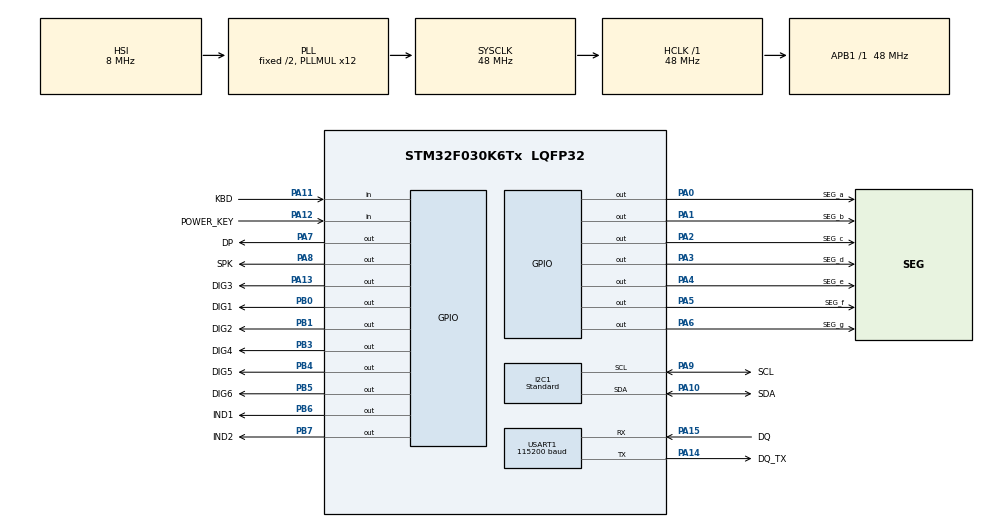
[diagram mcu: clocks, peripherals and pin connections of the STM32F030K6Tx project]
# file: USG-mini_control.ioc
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Dma.Request0=USART1_RX
Dma.Request1=USART1_TX
Dma.USART1_RX.0.Direction=DMA_PERIPH_TO_MEMORY
Dma.USART1_RX.0.Instance=DMA1_Channel3
Dma.USART1_RX.0.MemDataAlignment=DMA_MDATAALIGN_BYTE
Dma.USART1_RX.0.MemInc=DMA_MINC_ENABLE
Dma.USART1_RX.0.Mode=DMA_NORMAL
Dma.USART1_RX.0.PeriphDataAlignment=DMA_PDATAALIGN_BYTE
Dma.USART1_RX.0.PeriphInc=DMA_PINC_DISABLE
Dma.USART1_RX.0.Priority=DMA_PRIORITY_LOW
Dma.USART1_TX.1.Direction=DMA_MEMORY_TO_PERIPH
Dma.USART1_TX.1.Instance=DMA1_Channel2
Dma.USART1_TX.1.MemDataAlignment=DMA_MDATAALIGN_BYTE
Dma.USART1_TX.1.MemInc=DMA_MINC_ENABLE
Dma.USART1_TX.1.Mode=DMA_NORMAL
Dma.USART1_TX.1.PeriphDataAlignment=DMA_PDATAALIGN_BYTE
Dma.USART1_TX.1.PeriphInc=DMA_PINC_DISABLE
Dma.USART1_TX.1.Priority=DMA_PRIORITY_LOW
I2C1.I2C_Speed_Mode=I2C_Standard
I2C1.Speed=100
I2C1.Timing=0x2000090E
Mcu.Family=STM32F0
Mcu.Name=STM32F030K6Tx
Mcu.Package=LQFP32
NVIC.DMA1_Channel2_3_IRQn=true\:0\:0\:false\:false\:true
NVIC.I2C1_IRQn=true\:0\:0\:false\:false\:true
PA0.GPIO_Label=SEG_a
PA0.Signal=GPIO_Output
PA1.GPIO_Label=SEG_b
PA1.Signal=GPIO_Output
PA10.GPIO_Label=SDA
PA10.Mode=I2C
PA10.Signal=I2C1_SDA
PA11.GPIO_Label=KBD
PA11.GPIO_PuPd=GPIO_PULLUP
PA11.Signal=GPIO_Input
PA12.GPIO_Label=POWER_KEY
PA12.GPIO_PuPd=GPIO_PULLUP
PA12.Signal=GPIO_Input
PA13.GPIO_Label=DIG3
PA13.Signal=GPIO_Output
PA14.GPIO_Label=DQ_TX
PA14.GPIO_Speed=GPIO_SPEED_FREQ_HIGH
PA14.Mode=Asynchronous
PA14.Signal=USART1_TX
PA15.GPIO_Label=DQ
PA15.Mode=Asynchronous
PA15.Signal=USART1_RX
PA2.GPIO_Label=SEG_c
PA2.Signal=GPIO_Output
PA3.GPIO_Label=SEG_d
PA3.Signal=GPIO_Output
PA4.GPIO_Label=SEG_e
PA4.Signal=GPIO_Output
PA5.GPIO_Label=SEG_f
PA5.Signal=GPIO_Output
PA6.GPIO_Label=SEG_g
PA6.Signal=GPIO_Output
PA7.GPIO_Label=DP
PA7.Signal=GPIO_Output
PA8.GPIO_Label=SPK
PA8.PinState=GPIO_PIN_SET
PA8.Signal=GPIO_Output
PA9.GPIO_Label=SCL
PA9.Mode=I2C
PA9.Signal=I2C1_SCL
PB0.GPIO_Label=DIG1
PB0.Signal=GPIO_Output
PB1.GPIO_Label=DIG2
PB1.Signal=GPIO_Output
PB3.GPIO_Label=DIG4
PB3.Signal=GPIO_Output
PB4.GPIO_Label=DIG5
PB4.Signal=GPIO_Output
PB5.GPIO_Label=DIG6
PB5.Signal=GPIO_Output
PB6.GPIO_Label=IND1
PB6.Signal=GPIO_Output
PB7.GPIO_Label=IND2
PB7.Signal=GPIO_Output
PF0-OSC_IN.Mode=HSE-External-Oscillator
PF0-OSC_IN.Signal=RCC_OSC_IN
PF1-OSC_OUT.Mode=HSE-External-Oscillator
PF1-OSC_OUT.Signal=RCC_OSC_OUT
ProjectManager.HeapSize=0x200
ProjectManager.StackSize=0x400
ProjectManager.TargetToolchain=MDK-ARM V5
RCC.AHBFreq_Value=48000000
RCC.APB1Freq_Value=48000000
RCC.APB1TimFreq_Value=48000000
RCC.HCLKFreq_Value=48000000
RCC.PLLMUL=RCC_PLL_MUL12
RCC.SYSCLKFreq_VALUE=48000000
RCC.SYSCLKSource=RCC_SYSCLKSOURCE_PLLCLK
RCC.VDD_VALUE=3.3
USART1.BaudRate=115200
VP_TIM1_VS_ClockSourceINT.Mode=Internal
board=USG-mini_control

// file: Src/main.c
/**
  ******************************************************************************
  * File Name          : main.c
  * Description        : Main program body
  ******************************************************************************
  *
  * COPYRIGHT(c) 2016 STMicroelectronics
  *
  * Redistribution and use in source and binary forms, with or without modification,
  * are permitted provided that the following conditions are met:
  *   1. Redistributions of source code must retain the above copyright notice,
  *      this list of conditions and the following disclaimer.
  *   2. Redistributions in binary form must reproduce the above copyright notice,
  *      this list of conditions and the following disclaimer in the documentation
  *      and/or other materials provided with the distribution.
  *   3. Neither the name of STMicroelectronics nor the names of its contributors
  *      may be used to endorse or promote products derived from this software
  *      without specific prior written permission.
  *
  * THIS SOFTWARE IS PROVIDED BY THE COPYRIGHT HOLDERS AND CONTRIBUTORS "AS IS"
  * AND ANY EXPRESS OR IMPLIED WARRANTIES, INCLUDING, BUT NOT LIMITED TO, THE
  * IMPLIED WARRANTIES OF MERCHANTABILITY AND FITNESS FOR A PARTICULAR PURPOSE ARE
  * DISCLAIMED. IN NO EVENT SHALL THE COPYRIGHT HOLDER OR CONTRIBUTORS BE LIABLE
  * FOR ANY DIRECT, INDIRECT, INCIDENTAL, SPECIAL, EXEMPLARY, OR CONSEQUENTIAL
  * DAMAGES (INCLUDING, BUT NOT LIMITED TO, PROCUREMENT OF SUBSTITUTE GOODS OR
  * SERVICES; LOSS OF USE, DATA, OR PROFITS; OR BUSINESS INTERRUPTION) HOWEVER
  * CAUSED AND ON ANY THEORY OF LIABILITY, WHETHER IN CONTRACT, STRICT LIABILITY,
  * OR TORT (INCLUDING NEGLIGENCE OR OTHERWISE) ARISING IN ANY WAY OUT OF THE USE
  * OF THIS SOFTWARE, EVEN IF ADVISED OF THE POSSIBILITY OF SUCH DAMAGE.
  *
  ******************************************************************************
  */
#include "stm32f0xx_hal.h"

/* USER CODE BEGIN Includes */
#include "main.h"
/* USER CODE END Includes */

I2C_HandleTypeDef hi2c1;

TIM_HandleTypeDef htim1;

UART_HandleTypeDef huart1;
DMA_HandleTypeDef hdma_usart1_rx;
DMA_HandleTypeDef hdma_usart1_tx;

/* USER CODE BEGIN PV */
/* Private variables ---------------------------------------------------------*/

/* USER CODE END PV */

void SystemClock_Config(void);
void Error_Handler(void);
static void MX_GPIO_Init(void);
static void MX_DMA_Init(void);
static void MX_I2C1_Init(void);
static void MX_TIM1_Init(void);
static void MX_USART1_UART_Init(void);

/* USER CODE BEGIN PFP */
/* Private function prototypes -----------------------------------------------*/

/* USER CODE END PFP */

int main(void)
{

  /* USER CODE BEGIN 1 */
  const size_t buf_size = 6;
	char buf[buf_size];
	uint8_t tx_buffer[8];
	uint8_t rx_buffer[8];
	float temperature = 22.8;
  /* USER CODE END 1 */

  /* MCU Configuration----------------------------------------------------------*/

  /* Reset of all peripherals, Initializes the Flash interface and the Systick. */
  HAL_Init();

  /* Configure the system clock */
  SystemClock_Config();

  /* Initialize all configured peripherals */
  MX_GPIO_Init();
  MX_DMA_Init();
  MX_I2C1_Init();
  MX_TIM1_Init();
  MX_USART1_UART_Init();

  /* USER CODE BEGIN 2 */
  DisplayOn();

	snprintf(buf, buf_size, "%.1f", temperature);
	DisplayPut(INDICATOR_LEFT, buf, 0);
	snprintf(buf, buf_size, "---");
	DisplayPut(INDICATOR_RIGHT, buf, 0);

	Beep(3, 125, 125);
	LED_Control(LED_LEFT, LED_STATE_ON);

	OW_Init(&huart1);

  if (OW_Reset(&huart1) == OW_OK)
	{
    snprintf(buf, buf_size, " Ok");
	  DisplayPut(INDICATOR_LEFT, buf, 0);
	}
	else
	{
	  snprintf(buf, buf_size, "Err");
	  DisplayPut(INDICATOR_LEFT, buf, 0);
	}
	tx_buffer[0] = 0xcc;
	tx_buffer[1] = 0x44;
	OW_Send(&huart1, OW_SEND_RESET,tx_buffer, 2, NULL, NULL, OW_NO_READ);

  for (unsigned i=0; i<1000000; i++);

	tx_buffer[0] = 0xcc;
	tx_buffer[1] = 0xbe;
	tx_buffer[2] = 0xff;
	tx_buffer[3] = 0xff;
  OW_Send(&huart1, OW_SEND_RESET, tx_buffer, 4, rx_buffer, 2, 2);
	for (unsigned i=0; i<1000000; i++);

	snprintf(buf, buf_size, "%u", rx_buffer[0]);
	DisplayPut(INDICATOR_LEFT, buf, 0);
	snprintf(buf, buf_size, "%u", rx_buffer[1]);
	DisplayPut(INDICATOR_RIGHT, buf, 0);

  /* USER CODE END 2 */

  /* Infinite loop */
  while (1)
  {

  }

}

/** System Clock Configuration
*/
void SystemClock_Config(void)
{

  RCC_OscInitTypeDef RCC_OscInitStruct;
  RCC_ClkInitTypeDef RCC_ClkInitStruct;
  RCC_PeriphCLKInitTypeDef PeriphClkInit;

  RCC_OscInitStruct.OscillatorType = RCC_OSCILLATORTYPE_HSI;
  RCC_OscInitStruct.HSIState = RCC_HSI_ON;
  RCC_OscInitStruct.HSICalibrationValue = 16;
  RCC_OscInitStruct.PLL.PLLState = RCC_PLL_ON;
  RCC_OscInitStruct.PLL.PLLSource = RCC_PLLSOURCE_HSI;
  RCC_OscInitStruct.PLL.PLLMUL = RCC_PLL_MUL12;
  RCC_OscInitStruct.PLL.PREDIV = RCC_PREDIV_DIV1;
  if (HAL_RCC_OscConfig(&RCC_OscInitStruct) != HAL_OK)
  {
    Error_Handler();
  }

  RCC_ClkInitStruct.ClockType = RCC_CLOCKTYPE_HCLK|RCC_CLOCKTYPE_SYSCLK
                              |RCC_CLOCKTYPE_PCLK1;
  RCC_ClkInitStruct.SYSCLKSource = RCC_SYSCLKSOURCE_PLLCLK;
  RCC_ClkInitStruct.AHBCLKDivider = RCC_SYSCLK_DIV1;
  RCC_ClkInitStruct.APB1CLKDivider = RCC_HCLK_DIV1;
  if (HAL_RCC_ClockConfig(&RCC_ClkInitStruct, FLASH_LATENCY_1) != HAL_OK)
  {
    Error_Handler();
  }

  PeriphClkInit.PeriphClockSelection = RCC_PERIPHCLK_USART1|RCC_PERIPHCLK_I2C1;
  PeriphClkInit.Usart1ClockSelection = RCC_USART1CLKSOURCE_PCLK1;
  PeriphClkInit.I2c1ClockSelection = RCC_I2C1CLKSOURCE_HSI;
  if (HAL_RCCEx_PeriphCLKConfig(&PeriphClkInit) != HAL_OK)
  {
    Error_Handler();
  }

  HAL_SYSTICK_Config(HAL_RCC_GetHCLKFreq()/1000);

  HAL_SYSTICK_CLKSourceConfig(SYSTICK_CLKSOURCE_HCLK);

  /* SysTick_IRQn interrupt configuration */
  HAL_NVIC_SetPriority(SysTick_IRQn, 0, 0);
}

/* I2C1 init function */
static void MX_I2C1_Init(void)
{

  hi2c1.Instance = I2C1;
  hi2c1.Init.Timing = 0x2000090E;
  hi2c1.Init.OwnAddress1 = 0;
  hi2c1.Init.AddressingMode = I2C_ADDRESSINGMODE_7BIT;
  hi2c1.Init.DualAddressMode = I2C_DUALADDRESS_DISABLE;
  hi2c1.Init.OwnAddress2 = 0;
  hi2c1.Init.OwnAddress2Masks = I2C_OA2_NOMASK;
  hi2c1.Init.GeneralCallMode = I2C_GENERALCALL_DISABLE;
  hi2c1.Init.NoStretchMode = I2C_NOSTRETCH_DISABLE;
  if (HAL_I2C_Init(&hi2c1) != HAL_OK)
  {
    Error_Handler();
  }

    /**Configure Analogue filter
    */
  if (HAL_I2CEx_ConfigAnalogFilter(&hi2c1, I2C_ANALOGFILTER_ENABLE) != HAL_OK)
  {
    Error_Handler();
  }

}

/* TIM1 init function */
static void MX_TIM1_Init(void)
{

  TIM_ClockConfigTypeDef sClockSourceConfig;
  TIM_MasterConfigTypeDef sMasterConfig;

  htim1.Instance = TIM1;
  htim1.Init.Prescaler = 0;
  htim1.Init.CounterMode = TIM_COUNTERMODE_UP;
  htim1.Init.Period = 0;
  htim1.Init.ClockDivision = TIM_CLOCKDIVISION_DIV1;
  htim1.Init.RepetitionCounter = 0;
  if (HAL_TIM_Base_Init(&htim1) != HAL_OK)
  {
    Error_Handler();
  }

  sClockSourceConfig.ClockSource = TIM_CLOCKSOURCE_INTERNAL;
  if (HAL_TIM_ConfigClockSource(&htim1, &sClockSourceConfig) != HAL_OK)
  {
    Error_Handler();
  }

  sMasterConfig.MasterOutputTrigger = TIM_TRGO_RESET;
  sMasterConfig.MasterSlaveMode = TIM_MASTERSLAVEMODE_DISABLE;
  if (HAL_TIMEx_MasterConfigSynchronization(&htim1, &sMasterConfig) != HAL_OK)
  {
    Error_Handler();
  }

}

/* USART1 init function */
static void MX_USART1_UART_Init(void)
{

  huart1.Instance = USART1;
  huart1.Init.BaudRate = 115200;
  huart1.Init.WordLength = UART_WORDLENGTH_8B;
  huart1.Init.StopBits = UART_STOPBITS_1;
  huart1.Init.Parity = UART_PARITY_NONE;
  huart1.Init.Mode = UART_MODE_TX_RX;
  huart1.Init.HwFlowCtl = UART_HWCONTROL_NONE;
  huart1.Init.OverSampling = UART_OVERSAMPLING_16;
  huart1.Init.OneBitSampling = UART_ONE_BIT_SAMPLE_DISABLE;
  huart1.AdvancedInit.AdvFeatureInit = UART_ADVFEATURE_NO_INIT;
  if (HAL_UART_Init(&huart1) != HAL_OK)
  {
    Error_Handler();
  }

}

static void MX_DMA_Init(void)
{
  /* DMA controller clock enable */
  __HAL_RCC_DMA1_CLK_ENABLE();

  /* DMA interrupt init */
  /* DMA1_Channel2_3_IRQn interrupt configuration */
  HAL_NVIC_SetPriority(DMA1_Channel2_3_IRQn, 0, 0);
  HAL_NVIC_EnableIRQ(DMA1_Channel2_3_IRQn);

}

/** Configure pins as
        * Analog
        * Input
        * Output
        * EVENT_OUT
        * EXTI
*/
static void MX_GPIO_Init(void)
{

  GPIO_InitTypeDef GPIO_InitStruct;

  /* GPIO Ports Clock Enable */
  __HAL_RCC_GPIOF_CLK_ENABLE();
  __HAL_RCC_GPIOA_CLK_ENABLE();
  __HAL_RCC_GPIOB_CLK_ENABLE();

  /*Configure GPIO pin Output Level */
  HAL_GPIO_WritePin(GPIOA, SEG_a_Pin|SEG_b_Pin|SEG_c_Pin|SEG_d_Pin
                          |SEG_e_Pin|SEG_f_Pin|SEG_g_Pin|DP_Pin
                          |DIG3_Pin, GPIO_PIN_RESET);

  /*Configure GPIO pin Output Level */
  HAL_GPIO_WritePin(GPIOB, DIG1_Pin|DIG2_Pin|DIG4_Pin|DIG5_Pin
                          |DIG6_Pin|IND1_Pin|IND2_Pin, GPIO_PIN_RESET);

  /*Configure GPIO pin Output Level */
  HAL_GPIO_WritePin(SPK_GPIO_Port, SPK_Pin, GPIO_PIN_SET);

  /*Configure GPIO pins : SEG_a_Pin SEG_b_Pin SEG_c_Pin SEG_d_Pin
                           SEG_e_Pin SEG_f_Pin SEG_g_Pin DP_Pin
                           SPK_Pin DIG3_Pin */
  GPIO_InitStruct.Pin = SEG_a_Pin|SEG_b_Pin|SEG_c_Pin|SEG_d_Pin
                          |SEG_e_Pin|SEG_f_Pin|SEG_g_Pin|DP_Pin
                          |SPK_Pin|DIG3_Pin;
  GPIO_InitStruct.Mode = GPIO_MODE_OUTPUT_PP;
  GPIO_InitStruct.Pull = GPIO_NOPULL;
  GPIO_InitStruct.Speed = GPIO_SPEED_FREQ_LOW;
  HAL_GPIO_Init(GPIOA, &GPIO_InitStruct);

  /*Configure GPIO pins : DIG1_Pin DIG2_Pin DIG4_Pin DIG5_Pin
                           DIG6_Pin IND1_Pin IND2_Pin */
  GPIO_InitStruct.Pin = DIG1_Pin|DIG2_Pin|DIG4_Pin|DIG5_Pin
                          |DIG6_Pin|IND1_Pin|IND2_Pin;
  GPIO_InitStruct.Mode = GPIO_MODE_OUTPUT_PP;
  GPIO_InitStruct.Pull = GPIO_NOPULL;
  GPIO_InitStruct.Speed = GPIO_SPEED_FREQ_LOW;
  HAL_GPIO_Init(GPIOB, &GPIO_InitStruct);

  /*Configure GPIO pins : KBD_Pin POWER_KEY_Pin */
  GPIO_InitStruct.Pin = KBD_Pin|POWER_KEY_Pin;
  GPIO_InitStruct.Mode = GPIO_MODE_INPUT;
  GPIO_InitStruct.Pull = GPIO_PULLUP;
  HAL_GPIO_Init(GPIOA, &GPIO_InitStruct);

}

/* USER CODE BEGIN 4 */
void HAL_SYSTICK_Callback(void)
{
  DisplayRefresh();
}

/* USER CODE END 4 */

void Error_Handler(void)
{
  while(1)
  {
  }
}

/************************ (C) COPYRIGHT STMicroelectronics *****END OF FILE****/
